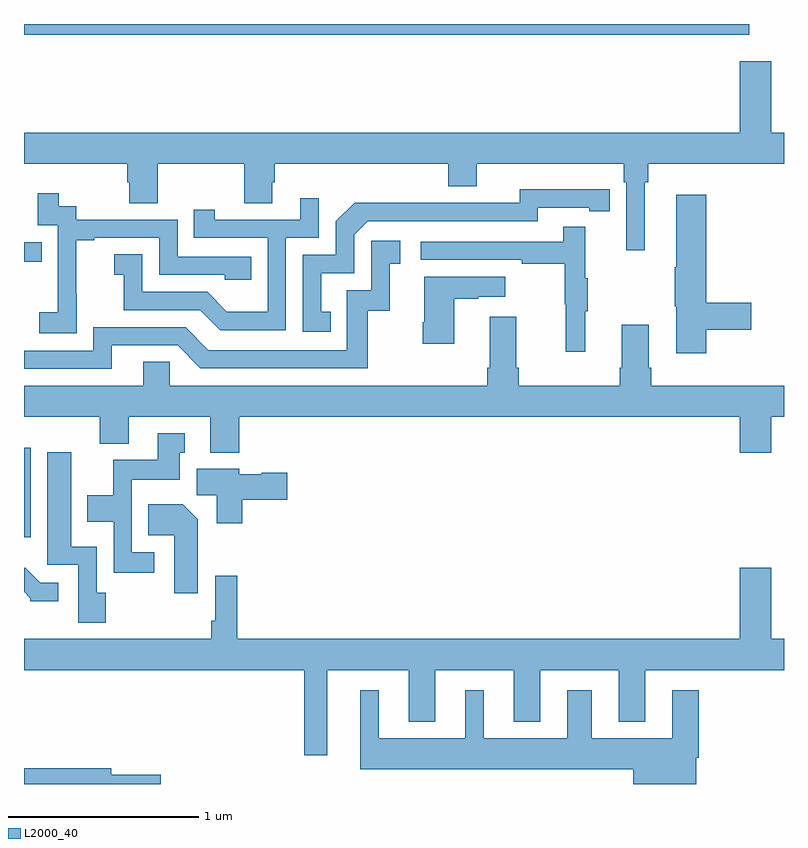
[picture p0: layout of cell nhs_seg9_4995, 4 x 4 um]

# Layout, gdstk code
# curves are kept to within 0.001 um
import gdstk
lib = gdstk.Library(unit=1e-6, precision=1e-09)
def R(c, l, rs):  # rectangles x0, y0, x1, y1
    for r in rs: c.add(gdstk.rectangle(r[:2], r[2:], *l))
def P(c, l, *ps):  # polygons
    for p in ps: c.add(gdstk.Polygon(p, *l))
L2000_40 = (2000, 40)

nhs_seg9_4995 = lib.new_cell('nhs_seg9_4995')
R(nhs_seg9_4995, L2000_40, [(401,1183.8,401.035,1184.269), (401,1185.25,401.093,1185.351), (401,1186.444,404.818,1186.5)])
P(nhs_seg9_4995, L2000_40, [(404.266,1185.668),(404.285,1185.668),(404.285,1185.764),(405,1185.764),(405,1185.928),(404.932,1185.928),(404.932,1186.303),(404.768,1186.303),(404.768,1185.928),(401,1185.928),(401,1185.764),(401.543,1185.764),(401.543,1185.666),(401.555,1185.666),(401.555,1185.556),(401.703,1185.556),(401.703,1185.764),(402.16,1185.764),(402.16,1185.556),(402.307,1185.556),(402.307,1185.666),(402.32,1185.666),(402.32,1185.764),(403.232,1185.764),(403.232,1185.647),(403.384,1185.647),(403.384,1185.764),(404.156,1185.764),(404.156,1185.668),(404.169,1185.668),(404.169,1185.309),(404.266,1185.309)],
  [(402.614,1184.985),(402.565,1184.985),(402.565,1185.189),(402.738,1185.189),(402.738,1185.39),(402.81,1185.462),(403.704,1185.462),(403.704,1185.534),(403.976,1185.534),(403.976,1185.514),(404.084,1185.514),(404.084,1185.63),(403.608,1185.631),(403.608,1185.558),(403.148,1185.558),(403.148,1185.56),(402.74,1185.56),(402.642,1185.462),(402.642,1185.285),(402.468,1185.285),(402.468,1184.88),(402.614,1184.88)],
  [(401.277,1185.079),(401.276,1185.079),(401.276,1185.363),(401.371,1185.363),(401.371,1185.375),(401.712,1185.375),(401.712,1185.18),(402.057,1185.18),(402.057,1185.153),(402.197,1185.153),(402.197,1185.276),(401.808,1185.276),(401.808,1185.471),(401.274,1185.471),(401.274,1185.54),(401.182,1185.54),(401.182,1185.61),(401.073,1185.61),(401.073,1185.441),(401.178,1185.441),(401.178,1185.212),(401.177,1185.212),(401.177,1184.983),(401.079,1184.983),(401.079,1184.873),(401.277,1184.873)],
  [(404.591,1184.89),(404.827,1184.89),(404.827,1185.032),(404.591,1185.032),(404.591,1185.601),(404.432,1185.601),(404.432,1185.221),(404.425,1185.221),(404.425,1185.015),(404.432,1185.015),(404.432,1184.766),(404.591,1184.766)],
  [(402.378,1185.375),(402.552,1185.375),(402.552,1185.583),(402.455,1185.583),(402.455,1185.471),(402.004,1185.471),(402.004,1185.523),(401.893,1185.523),(401.893,1185.375),(402.282,1185.375),(402.282,1184.986),(402.068,1184.986),(401.964,1185.09),(401.622,1185.09),(401.622,1185.289),(401.475,1185.289),(401.475,1185.179),(401.524,1185.179),(401.524,1184.994),(401.927,1184.994),(402.032,1184.889),(402.378,1184.889)],
  [(403.955,1184.987),(403.966,1184.987),(403.966,1185.161),(403.955,1185.161),(403.955,1185.433),(403.837,1185.433),(403.837,1185.354),(403.089,1185.354),(403.089,1185.258),(403.621,1185.258),(403.621,1185.238),(403.845,1185.238),(403.845,1185.024),(403.852,1185.024),(403.852,1184.775),(403.955,1184.775)],
  [(401.461,1184.808),(401.808,1184.808),(401.928,1184.688),(402.808,1184.688),(402.808,1184.991),(402.926,1184.991),(402.926,1185.237),(402.979,1185.237),(402.979,1185.358),(402.828,1185.358),(402.828,1185.099),(402.699,1185.099),(402.699,1184.784),(401.97,1184.784),(401.85,1184.904),(401.364,1184.904),(401.364,1184.781),(401,1184.781),(401,1184.685),(401.461,1184.685)],
  [(403.264,1185.055),(403.391,1185.055),(403.391,1185.065),(403.534,1185.065),(403.534,1185.169),(403.106,1185.169),(403.106,1184.929),(403.099,1184.929),(403.099,1184.817),(403.264,1184.817)],
  [(404.768,1184.244),(404.932,1184.244),(404.932,1184.432),(405,1184.432),(405,1184.596),(404.3,1184.596),(404.3,1184.692),(404.287,1184.692),(404.287,1184.917),(404.147,1184.917),(404.147,1184.692),(404.135,1184.692),(404.135,1184.596),(403.604,1184.596),(403.604,1184.692),(403.591,1184.692),(403.591,1184.959),(403.451,1184.959),(403.451,1184.692),(403.439,1184.692),(403.439,1184.596),(401.766,1184.596),(401.766,1184.723),(401.627,1184.723),(401.627,1184.596),(401,1184.596),(401,1184.432),(401.399,1184.432),(401.399,1184.291),(401.551,1184.291),(401.551,1184.432),(401.981,1184.432),(401.981,1184.243),(402.134,1184.243),(402.134,1184.432),(404.768,1184.432)],
  [(401.686,1183.719),(401.568,1183.719),(401.568,1184.102),(401.821,1184.102),(401.821,1184.244),(401.845,1184.244),(401.845,1184.347),(401.705,1184.347),(401.705,1184.206),(401.47,1184.206),(401.47,1184.02),(401.333,1184.02),(401.333,1183.88),(401.472,1183.88),(401.472,1183.611),(401.686,1183.611)],
  [(401.43,1183.506),(401.382,1183.506),(401.382,1183.75),(401.248,1183.75),(401.248,1184.245),(401.123,1184.245),(401.123,1183.653),(401.286,1183.653),(401.286,1183.35),(401.43,1183.35)],
  [(402.149,1183.997),(402.385,1183.997),(402.385,1184.139),(402.252,1184.139),(402.252,1184.131),(402.132,1184.131),(402.132,1184.158),(401.909,1184.158),(401.909,1184.02),(402.014,1184.02),(402.014,1183.872),(402.149,1183.872)],
  [(401.914,1183.894),(401.836,1183.972),(401.653,1183.972),(401.653,1183.808),(401.792,1183.808),(401.792,1183.503),(401.914,1183.503)],
  [(402.595,1183.1),(403.025,1183.1),(403.025,1182.827),(403.165,1182.827),(403.165,1183.1),(403.577,1183.1),(403.577,1182.827),(403.717,1182.827),(403.717,1183.1),(404.129,1183.1),(404.129,1182.827),(404.269,1182.827),(404.269,1183.1),(405,1183.1),(405,1183.264),(404.932,1183.264),(404.932,1183.639),(404.768,1183.639),(404.768,1183.264),(402.122,1183.264),(402.122,1183.597),(402.006,1183.597),(402.006,1183.36),(401.986,1183.36),(401.986,1183.264),(401,1183.264),(401,1183.1),(402.474,1183.1),(402.474,1182.651),(402.595,1182.651)],
  [(401.179,1183.56),(401.085,1183.56),(401.007,1183.639),(401,1183.639),(401,1183.512),(401.034,1183.478),(401.034,1183.463),(401.179,1183.463)],
  [(404.539,1182.638),(404.552,1182.638),(404.552,1182.994),(404.411,1182.994),(404.411,1182.742),(403.987,1182.742),(403.987,1182.994),(403.859,1182.994),(403.859,1182.742),(403.42,1182.742),(403.42,1182.994),(403.322,1182.994),(403.322,1182.742),(402.868,1182.742),(402.868,1182.994),(402.77,1182.994),(402.77,1182.578),(404.207,1182.578),(404.207,1182.5),(404.539,1182.5)],
  [(401.719,1182.548),(401.458,1182.548),(401.458,1182.584),(401,1182.584),(401,1182.5),(401.719,1182.5)])

lib.write_gds('nhs_seg9_4995.gds')
